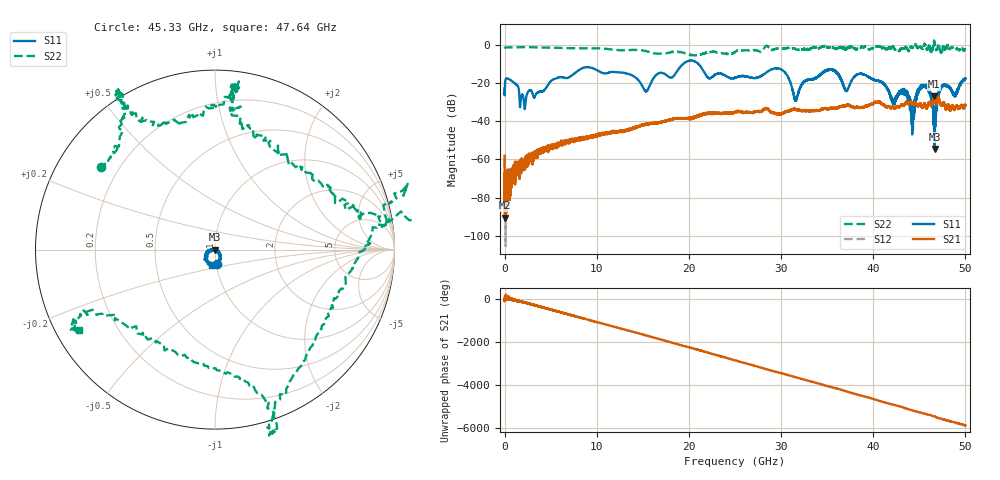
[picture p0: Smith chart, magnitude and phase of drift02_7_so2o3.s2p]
!Created with skrf (http://scikit-rf.org).
# Hz S RI R 50.0
!freq ReS11 ImS11 ReS21 ImS21 ReS12 ImS12 ReS22 ImS22
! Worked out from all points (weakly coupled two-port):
!   10001 points, 300 kHz to 50 GHz, reference 50 ohm
!   highest |S21| = -26.92 dB at 46.61 GHz (marker M1); lowest = -90.4 dB at 35.3 MHz (marker M2)
!   lowest |S11| = -54.5 dB at 46.65 GHz (marker M3), VSWR 1.00, Z = 49.8 - j0.0869 ohm
!   |S11| at or under -10 dB: start of sweep to 19.42 GHz; 21 GHz to end of sweep
!   |S22| runs from -5.7 to 2.2 dB; largest |S21 - S12| = 0.0031
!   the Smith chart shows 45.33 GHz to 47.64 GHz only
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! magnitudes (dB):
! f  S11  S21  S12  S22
! 300 kHz  -22.9  -58.1  -59.6  -2.1
! 35.3 MHz  -21.7  -90.4  -77.3  -1.7
! 260.3 MHz  -17.6  -66.4  -75.2  -1.4
! 2.19 GHz  -33.6  -62.1  -62.9  -1.3
! 8.335 GHz  -12.5  -48.9  -48.7  -1.9
! 15.34 GHz  -24.4  -41.7  -41.6  -3.4
! 16.67 GHz  -15.1  -40.6  -40.8  -4.8
! 20.29 GHz  -8.4  -38.7  -38.3  -5.5
! 25 GHz  -17.3  -35.5  -35.5  -3.9
! 29.84 GHz  -12.6  -36.2  -36.7  -2.0
! 31.59 GHz  -29.0  -33.9  -34.0  -2.5
! 33.34 GHz  -18.0  -34.3  -34.5  -1.6
! 35.61 GHz  -13.2  -33.2  -33.1  -1.7
! 37.1 GHz  -24.3  -31.7  -31.8  -2.1
! 38.77 GHz  -15.4  -32.7  -32.6  -1.1
! 41.67 GHz  -24.5  -32.4  -32.3  -1.9
! 44.26 GHz  -39.1  -31.3  -31.1  -1.6
! 45.7 GHz  -21.7  -32.0  -32.4  -0.9
! 46.61 GHz  -38.7  -26.9  -26.8  2.2
! 46.65 GHz  -54.5  -27.6  -28.0  0.8
! 47.47 GHz  -21.9  -31.8  -31.8  -3.4
! 50 GHz  -17.8  -31.4  -31.8  -2.6
